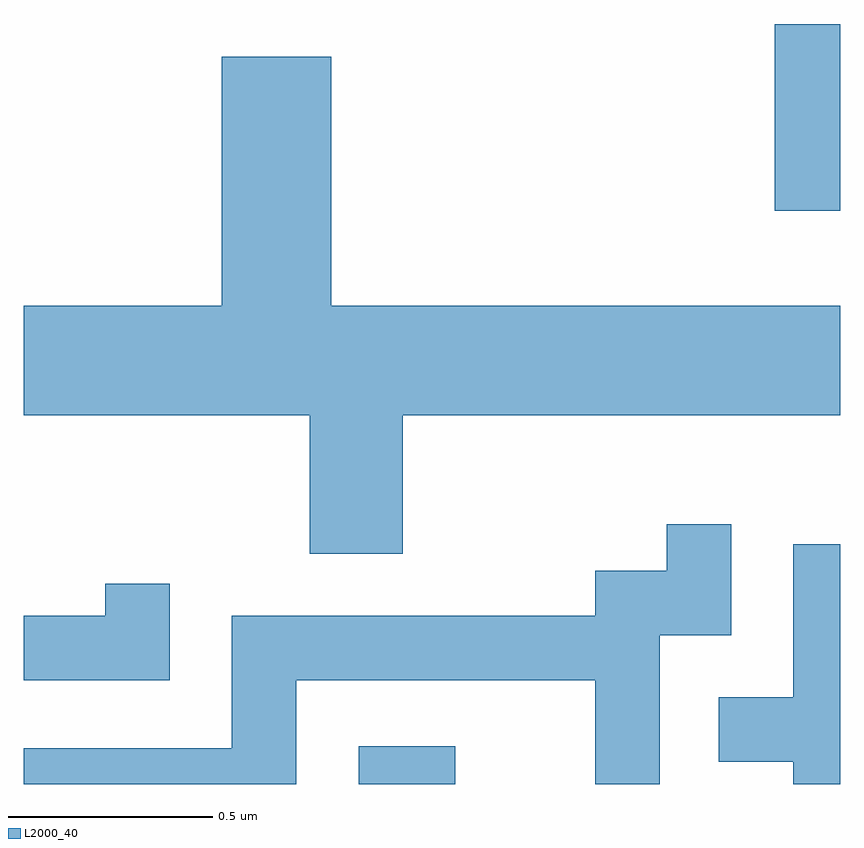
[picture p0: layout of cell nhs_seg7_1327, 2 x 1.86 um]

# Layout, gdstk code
import gdstk
lib = gdstk.Library(unit=1e-6, precision=1e-09)
def R(c, l, rs):  # rectangles x0, y0, x1, y1
    for r in rs: c.add(gdstk.rectangle(r[:2], r[2:], *l))
def P(c, l, *ps):  # polygons
    for p in ps: c.add(gdstk.Polygon(p, *l))
L2000_40 = (2000, 40)

nhs_seg7_1327 = lib.new_cell('nhs_seg7_1327')
R(nhs_seg7_1327, L2000_40, [(195.431,1762.252,195.668,1762.344), (196.451,1763.656,196.611,1764.114)])
P(nhs_seg7_1327, L2000_40, [(195.539,1763.156),(196.611,1763.156),(196.611,1763.424),(195.364,1763.424),(195.364,1764.034),(195.096,1764.034),(195.096,1763.424),(194.611,1763.424),(194.611,1763.156),(195.311,1763.156),(195.311,1762.816),(195.539,1762.816)],
  [(195.279,1762.506),(196.011,1762.506),(196.011,1762.252),(196.169,1762.252),(196.169,1762.616),(196.344,1762.616),(196.344,1762.888),(196.186,1762.888),(196.186,1762.774),(196.011,1762.774),(196.011,1762.664),(195.121,1762.664),(195.121,1762.339),(194.611,1762.339),(194.611,1762.252),(195.279,1762.252)],
  [(196.611,1762.839),(196.496,1762.839),(196.496,1762.464),(196.313,1762.464),(196.313,1762.306),(196.496,1762.306),(196.496,1762.252),(196.611,1762.252)],
  [(194.969,1762.743),(194.811,1762.743),(194.811,1762.664),(194.611,1762.664),(194.611,1762.506),(194.969,1762.506)])

lib.write_gds('nhs_seg7_1327.gds')
